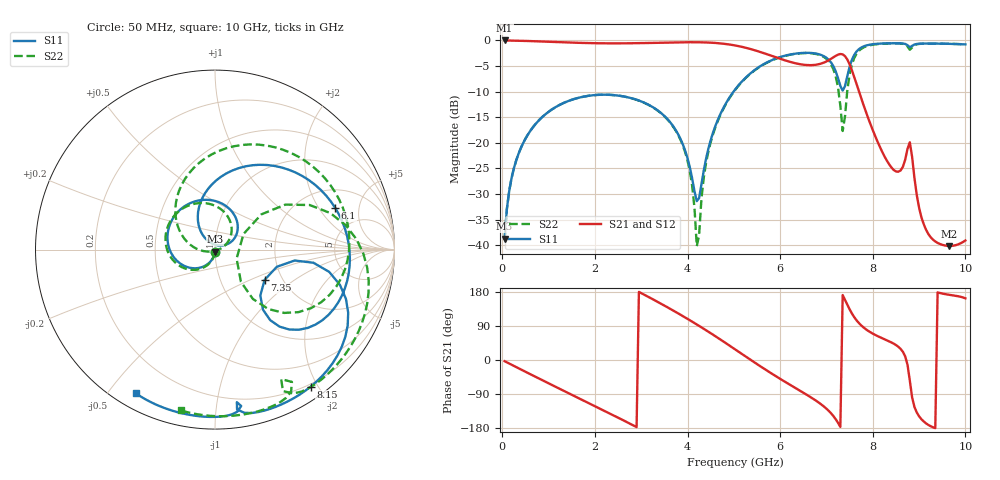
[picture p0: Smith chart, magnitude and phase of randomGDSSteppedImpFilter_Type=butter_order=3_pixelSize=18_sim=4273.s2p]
! freq	dB(S11)	phase(S11)	dB(S12)	phase(S12)
!  dB(S21)	phase(S21)	dB(S22)	phase(S22)
!S-par simulation data
#  GHz  S  DB  R 50
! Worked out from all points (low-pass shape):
!   200 points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, 50 MHz to 10 GHz, reference 50 ohm
!   highest |S21| = -0.01 dB at 50 MHz (marker M1); lowest = -40.1 dB at 9.65 GHz (marker M2)
!   |S21| within 3 dB of the highest: start of sweep to 5.815 GHz; 7.201 GHz to 7.391 GHz (190.1 MHz wide, 2.61 % of centre)
!   lowest |S11| = -38.7 dB at 50 MHz (marker M3), VSWR 1.02, Z = 49.9 - j1.15 ohm
!   |S11| at or under -10 dB: start of sweep to 4.993 GHz
!   |S22| runs from -40.2 to -0.6 dB; largest |S21 - S12| = 0
!   S11 on the Smith chart (normalised r, x): 50 MHz: 1.00, -0.02; 6.1 GHz: 3.04, +2.85; 7.35 GHz: 1.62, -0.61; 8.15 GHz: 0.17, -1.90; 10 GHz: 0.06, -0.59
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0.05  -38.74 -92.5  -0.01 -3.2  -0.01 -3.2  -38.74 -92.2
0.2  -26.89 -102.9  -0.03 -12.5  -0.03 -12.5  -26.88 -101.8
0.5  -19.19 -122.9  -0.10 -31.0  -0.10 -31.0  -19.19 -120.0
1.15  -13.03 -164.6  -0.31 -70.6  -0.31 -70.6  -13.03 -157.9
1.75  -10.99 157.5  -0.49 -106.7  -0.49 -106.7  -10.99 167.9
2.65  -10.99 100.4  -0.57 -161.4  -0.57 -161.4  -11.00 116.1
3.4  -13.97 52.3  -0.45 150.4  -0.45 150.4  -14.01 69.7
4  -23.02 23.9  -0.35 108.6  -0.35 108.6  -23.48 25.2
4.2  -31.39 66.9  -0.35 93.8  -0.35 93.8  -40.18 -36.6
4.5  -19.47 130.0  -0.44 70.7  -0.44 70.7  -19.87 177.6
5.05  -9.32 96.3  -1.02 26.2  -1.02 26.2  -9.41 130.1
6.1  -2.99 19.2  -3.88 -57.2  -3.88 -57.2  -3.03 44.3
6.7  -2.47 -19.9  -4.82 -101.3  -4.82 -101.3  -2.54 -0.5
7.15  -5.04 -50.0  -3.30 -148.0  -3.30 -148.0  -5.65 -42.5
7.35  -9.79 -31.4  -2.72 171.4  -2.72 171.4  -17.69 -22.6
7.6  -2.81 -15.8  -7.14 113.0  -7.14 113.0  -3.42 17.6
8.15  -0.62 -55.1  -20.73 60.4  -20.73 60.4  -0.68 -32.5
8.35  -0.56 -64.5  -24.14 49.4  -24.14 49.4  -0.59 -43.4
8.8  -1.33 -81.8  -19.89 -54.3  -19.89 -54.3  -1.82 -62.9
9.1  -0.61 -90.0  -35.87 -162.2  -35.87 -162.2  -0.63 -71.0
9.65  -0.66 -107.8  -40.14 172.1  -40.14 172.1  -0.66 -90.5
10  -0.78 -118.8  -39.07 162.7  -39.07 162.7  -0.76 -102.0
